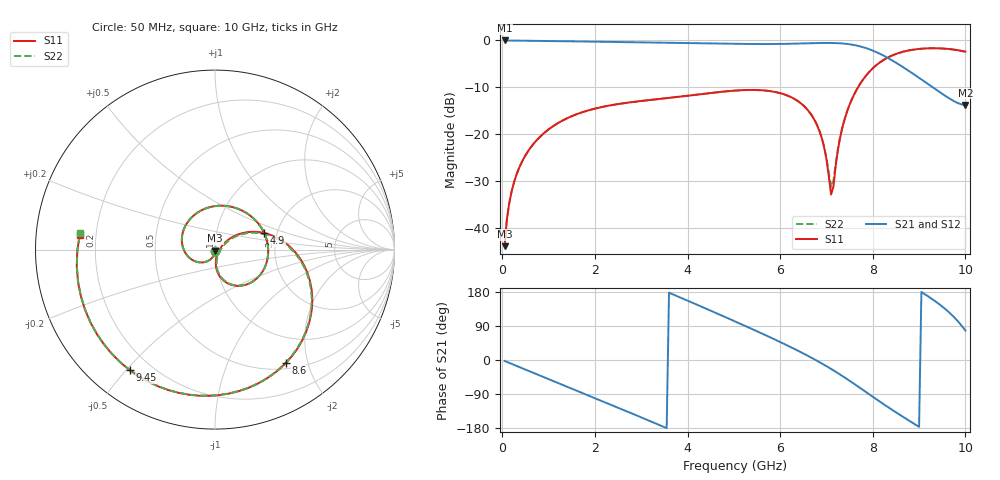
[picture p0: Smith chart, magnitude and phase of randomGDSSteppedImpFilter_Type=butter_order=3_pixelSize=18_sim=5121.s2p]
! freq	dB(S11)	phase(S11)	dB(S12)	phase(S12)
!  dB(S21)	phase(S21)	dB(S22)	phase(S22)
!S-par simulation data
#  GHz  S  DB  R 50
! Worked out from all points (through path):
!   200 points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, 50 MHz to 10 GHz, reference 50 ohm
!   highest |S21| = -0.02 dB at 50 MHz (marker M1); lowest = -13.8 dB at 10 GHz (marker M2)
!   group delay of S21, straight-line fit = 168 ps
!   lowest |S11| = -43.8 dB at 50 MHz (marker M3), VSWR 1.01, Z = 50.1 - j0.639 ohm
!   |S11| at or under -10 dB: start of sweep to 7.681 GHz
!   |S22| runs from -43.8 to -1.7 dB; largest |S21 - S12| = 0
!   S11 on the Smith chart (normalised r, x): 50 MHz: 1.00, -0.01; 4.9 GHz: 1.71, +0.34; 8.6 GHz: 0.59, -1.66; 9.45 GHz: 0.12, -0.51; 10 GHz: 0.14, +0.05
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0.05  -43.78 -80.4  -0.02 -2.6  -0.02 -2.6  -43.78 -80.4
0.2  -32.18 -96.7  -0.03 -10.2  -0.03 -10.2  -32.18 -96.8
0.5  -24.46 -114.7  -0.06 -25.3  -0.06 -25.3  -24.46 -114.8
1.15  -17.91 -148.6  -0.15 -58.0  -0.15 -58.0  -17.91 -148.8
1.75  -15.22 -179.1  -0.24 -88.2  -0.24 -88.2  -15.22 -179.2
2.5  -13.54 143.0  -0.35 -125.9  -0.35 -125.9  -13.54 142.8
3.4  -12.45 97.0  -0.47 -172.0  -0.47 -172.0  -12.45 96.7
4.1  -11.66 60.6  -0.58 151.4  -0.58 151.4  -11.66 60.4
4.9  -10.78 18.5  -0.71 108.7  -0.71 108.7  -10.78 18.5
5.05  -10.66 10.5  -0.74 100.5  -0.74 100.5  -10.66 10.6
5.85  -10.90 -32.6  -0.77 56.1  -0.77 56.1  -10.90 -32.2
6.7  -16.23 -79.3  -0.59 4.4  -0.59 4.4  -16.20 -78.0
6.95  -22.77 -86.7  -0.54 -12.7  -0.54 -12.7  -22.60 -83.4
7.1  -32.80 -41.1  -0.55 -23.5  -0.55 -23.5  -31.19 -38.3
7.3  -20.44 36.7  -0.62 -38.7  -0.62 -38.7  -20.31 33.5
7.5  -13.68 28.1  -0.83 -54.8  -0.83 -54.8  -13.65 26.5
7.9  -6.98 -1.9  -1.80 -88.5  -1.80 -88.5  -6.97 -2.8
8.35  -3.52 -38.3  -3.87 -126.1  -3.87 -126.1  -3.52 -38.8
8.6  -2.56 -57.8  -5.35 -145.9  -5.35 -145.9  -2.56 -58.3
9.05  -1.77 -92.2  -8.31 179.5  -8.31 179.5  -1.78 -92.6
9.45  -1.70 -125.2  -11.04 145.9  -11.04 145.9  -1.71 -125.7
10  -2.40 173.8  -13.76 77.7  -13.76 77.7  -2.43 172.9
